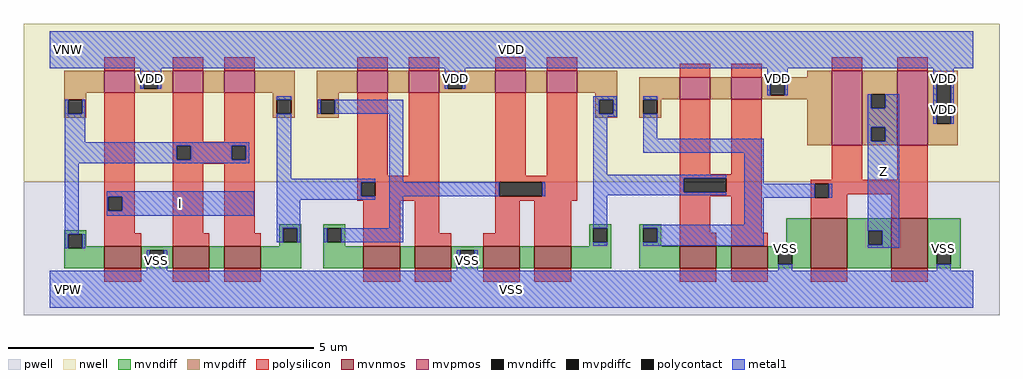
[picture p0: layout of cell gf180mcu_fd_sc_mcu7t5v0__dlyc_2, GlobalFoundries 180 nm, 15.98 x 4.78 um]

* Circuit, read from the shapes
.subckt gf180mcu_fd_sc_mcu7t5v0__dlyc_2 I Z VDD VNW VPW VSS
XM1 VSS I n1 VPW nfet_06v0 w=0.36u l=0.6u
XM2 n2 n1 VSS VPW nfet_06v0 w=0.36u l=0.6u
XM3 n3 n1 n2 VPW nfet_06v0 w=0.36u l=0.6u
XM4 n4 n3 n5 VPW nfet_06v0 w=0.36u l=0.6u
XM5 VSS n3 n4 VPW nfet_06v0 w=0.36u l=0.6u
XM6 n6 n5 VSS VPW nfet_06v0 w=0.36u l=0.6u
XM7 n7 n5 n6 VPW nfet_06v0 w=0.36u l=0.6u
XM8 n8 n7 n9 VPW nfet_06v0 w=0.365u l=0.6u
XM9 VSS n7 n8 VPW nfet_06v0 w=0.365u l=0.6u
XM10 Z n9 VSS VPW nfet_06v0 w=0.82u l=0.6u m=2
XM11 VDD I n1 VNW pfet_06v0 w=0.36u l=0.5u
XM12 n10 n1 VDD VNW pfet_06v0 w=0.36u l=0.5u
XM13 n3 n1 n10 VNW pfet_06v0 w=0.36u l=0.5u
XM14 n11 n3 n5 VNW pfet_06v0 w=0.36u l=0.5u
XM15 VDD n3 n11 VNW pfet_06v0 w=0.36u l=0.5u
XM16 n12 n5 VDD VNW pfet_06v0 w=0.36u l=0.5u
XM17 n7 n5 n12 VNW pfet_06v0 w=0.36u l=0.5u
XM18 n13 n7 n9 VNW pfet_06v0 w=0.36u l=0.5u
XM19 VDD n7 n13 VNW pfet_06v0 w=0.36u l=0.5u
XM20 Z n9 VDD VNW pfet_06v0 w=1.22u l=0.5u m=2
.ends

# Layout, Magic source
magic
tech gf180mcuD
magscale 1 10
<< nwell >>
rect -86 352 3110 870
<< pwell >>
rect -86 -86 3110 352
<< mvnmos >>
rect 179 68 299 140
rect 403 68 523 140
rect 571 68 691 140
rect 1027 68 1147 140
rect 1195 68 1315 140
rect 1419 68 1539 140
rect 1587 68 1707 140
rect 2063 68 2183 141
rect 2231 68 2351 141
rect 2492 68 2612 232
rect 2755 68 2875 232
<< mvpmos >>
rect 179 644 279 716
rect 403 644 503 716
rect 571 644 671 716
rect 1007 644 1107 716
rect 1175 644 1275 716
rect 1459 644 1559 716
rect 1627 644 1727 716
rect 2063 622 2163 694
rect 2231 622 2331 694
rect 2561 472 2661 716
rect 2775 472 2875 716
<< mvndiff >>
rect 47 180 119 193
rect 47 134 60 180
rect 106 140 119 180
rect 751 200 823 213
rect 751 154 764 200
rect 810 154 823 200
rect 751 140 823 154
rect 106 134 179 140
rect 47 68 179 134
rect 299 127 403 140
rect 299 81 328 127
rect 374 81 403 127
rect 299 68 403 81
rect 523 68 571 140
rect 691 68 823 140
rect 895 200 967 213
rect 895 154 908 200
rect 954 154 967 200
rect 895 140 967 154
rect 1767 200 1839 213
rect 1767 154 1780 200
rect 1826 154 1839 200
rect 1767 140 1839 154
rect 895 68 1027 140
rect 1147 68 1195 140
rect 1315 127 1419 140
rect 1315 81 1344 127
rect 1390 81 1419 127
rect 1315 68 1419 81
rect 1539 68 1587 140
rect 1707 68 1839 140
rect 1931 200 2003 213
rect 1931 154 1944 200
rect 1990 154 2003 200
rect 1931 141 2003 154
rect 2412 141 2492 232
rect 1931 68 2063 141
rect 2183 68 2231 141
rect 2351 127 2492 141
rect 2351 81 2385 127
rect 2431 81 2492 127
rect 2351 68 2492 81
rect 2612 192 2755 232
rect 2612 146 2680 192
rect 2726 146 2755 192
rect 2612 68 2755 146
rect 2875 127 2983 232
rect 2875 81 2904 127
rect 2950 81 2983 127
rect 2875 68 2983 81
<< mvpdiff >>
rect 47 644 179 716
rect 279 703 403 716
rect 279 657 308 703
rect 354 657 403 703
rect 279 644 403 657
rect 503 644 571 716
rect 671 644 803 716
rect 47 621 119 644
rect 47 575 60 621
rect 106 575 119 621
rect 47 562 119 575
rect 731 621 803 644
rect 731 575 744 621
rect 790 575 803 621
rect 731 562 803 575
rect 875 644 1007 716
rect 1107 644 1175 716
rect 1275 703 1459 716
rect 1275 657 1304 703
rect 1350 657 1459 703
rect 1275 644 1459 657
rect 1559 644 1627 716
rect 1727 644 1859 716
rect 2481 694 2561 716
rect 875 621 947 644
rect 875 575 888 621
rect 934 575 947 621
rect 875 562 947 575
rect 1787 621 1859 644
rect 1787 575 1800 621
rect 1846 575 1859 621
rect 1787 562 1859 575
rect 1931 622 2063 694
rect 2163 622 2231 694
rect 2331 681 2561 694
rect 2331 635 2360 681
rect 2406 635 2561 681
rect 2331 622 2561 635
rect 1931 621 2003 622
rect 1931 575 1944 621
rect 1990 575 2003 621
rect 1931 562 2003 575
rect 2481 472 2561 622
rect 2661 639 2775 716
rect 2661 593 2690 639
rect 2736 593 2775 639
rect 2661 531 2775 593
rect 2661 485 2690 531
rect 2736 485 2775 531
rect 2661 472 2775 485
rect 2875 681 2973 716
rect 2875 541 2904 681
rect 2950 541 2973 681
rect 2875 472 2973 541
<< mvndiffc >>
rect 60 134 106 180
rect 764 154 810 200
rect 328 81 374 127
rect 908 154 954 200
rect 1780 154 1826 200
rect 1344 81 1390 127
rect 1944 154 1990 200
rect 2385 81 2431 127
rect 2680 146 2726 192
rect 2904 81 2950 127
<< mvpdiffc >>
rect 308 657 354 703
rect 60 575 106 621
rect 744 575 790 621
rect 1304 657 1350 703
rect 888 575 934 621
rect 1800 575 1846 621
rect 2360 635 2406 681
rect 1944 575 1990 621
rect 2690 593 2736 639
rect 2690 485 2736 531
rect 2904 541 2950 681
<< polysilicon >>
rect 179 716 279 760
rect 403 716 503 760
rect 571 716 671 760
rect 1007 716 1107 760
rect 1175 716 1275 760
rect 1459 716 1559 760
rect 1627 716 1727 760
rect 179 303 279 644
rect 179 257 192 303
rect 238 257 279 303
rect 179 184 279 257
rect 403 483 503 644
rect 571 483 671 644
rect 2063 694 2163 738
rect 2231 694 2331 738
rect 2561 716 2661 760
rect 2775 716 2875 760
rect 403 470 671 483
rect 403 424 416 470
rect 462 424 596 470
rect 642 424 671 470
rect 403 411 671 424
rect 403 184 503 411
rect 571 184 671 411
rect 1007 371 1107 644
rect 1175 371 1275 644
rect 1007 350 1275 371
rect 1007 304 1020 350
rect 1066 304 1275 350
rect 1007 290 1275 304
rect 179 140 299 184
rect 403 140 523 184
rect 571 140 691 184
rect 1027 140 1147 290
rect 1195 184 1275 290
rect 1459 371 1559 644
rect 1627 371 1727 644
rect 1459 350 1727 371
rect 1459 304 1472 350
rect 1612 304 1727 350
rect 1459 290 1727 304
rect 2063 377 2163 622
rect 2231 377 2331 622
rect 2063 364 2331 377
rect 2063 318 2076 364
rect 2216 318 2331 364
rect 2561 359 2661 472
rect 2775 359 2875 472
rect 2063 305 2331 318
rect 1459 184 1539 290
rect 1195 140 1315 184
rect 1419 140 1539 184
rect 1587 140 1707 290
rect 2063 185 2163 305
rect 2231 185 2331 305
rect 2492 346 2875 359
rect 2492 300 2505 346
rect 2551 311 2875 346
rect 2551 300 2612 311
rect 2492 232 2612 300
rect 2755 232 2875 311
rect 2063 141 2183 185
rect 2231 141 2351 185
rect 179 24 299 68
rect 403 24 523 68
rect 571 24 691 68
rect 1027 24 1147 68
rect 1195 24 1315 68
rect 1419 24 1539 68
rect 1587 24 1707 68
rect 2063 24 2183 68
rect 2231 24 2351 68
rect 2492 24 2612 68
rect 2755 24 2875 68
<< polycontact >>
rect 192 257 238 303
rect 416 424 462 470
rect 596 424 642 470
rect 1020 304 1066 350
rect 1472 304 1612 350
rect 2076 318 2216 364
rect 2505 300 2551 346
<< metal1 >>
rect 0 724 3024 844
rect 297 703 365 724
rect 297 657 308 703
rect 354 657 365 703
rect 1293 703 1361 724
rect 1293 657 1304 703
rect 1350 657 1361 703
rect 2349 681 2417 724
rect 2349 635 2360 681
rect 2406 635 2417 681
rect 2893 681 2961 724
rect 744 621 790 632
rect 1780 621 1857 632
rect 49 575 60 621
rect 106 575 117 621
rect 49 481 117 575
rect 877 575 888 621
rect 934 575 1158 621
rect 49 470 653 481
rect 49 424 416 470
rect 462 424 596 470
rect 642 424 653 470
rect 49 413 653 424
rect 49 180 95 413
rect 744 361 790 575
rect 744 350 1066 361
rect 186 303 670 320
rect 186 257 192 303
rect 238 257 670 303
rect 186 240 670 257
rect 744 304 1020 350
rect 744 293 1066 304
rect 1112 350 1158 575
rect 1780 575 1800 621
rect 1846 575 1857 621
rect 1780 564 1857 575
rect 1944 621 1990 632
rect 1780 375 1826 564
rect 1944 493 1990 575
rect 2679 593 2690 639
rect 2736 593 2782 639
rect 2679 531 2782 593
rect 2893 541 2904 681
rect 2950 541 2961 681
rect 1944 447 2338 493
rect 1780 364 2216 375
rect 1112 304 1472 350
rect 1612 304 1623 350
rect 1780 318 2076 364
rect 1780 307 2216 318
rect 2274 346 2338 447
rect 2679 485 2690 531
rect 2736 485 2782 531
rect 744 200 821 293
rect 1112 200 1158 304
rect 49 134 60 180
rect 106 134 117 180
rect 744 154 764 200
rect 810 154 821 200
rect 897 154 908 200
rect 954 154 1158 200
rect 1780 200 1826 307
rect 2274 300 2505 346
rect 2551 300 2562 346
rect 2274 211 2338 300
rect 1780 143 1826 154
rect 1944 200 2338 211
rect 1990 154 2338 200
rect 1944 143 2338 154
rect 2679 192 2782 485
rect 2679 146 2680 192
rect 2726 146 2782 192
rect 2385 127 2431 138
rect 2679 135 2782 146
rect 317 81 328 127
rect 374 81 385 127
rect 317 60 385 81
rect 1333 81 1344 127
rect 1390 81 1401 127
rect 1333 60 1401 81
rect 2385 60 2431 81
rect 2904 127 2950 138
rect 2904 60 2950 81
rect 0 -60 3024 60
<< labels >>
flabel metal1 s 0 724 3024 844 0 FreeSans 400 0 0 0 VDD
port 3 nsew power bidirectional abutment
flabel metal1 s 186 240 670 320 0 FreeSans 400 0 0 0 I
port 1 nsew default input
flabel metal1 s 2904 127 2950 138 0 FreeSans 400 0 0 0 VSS
port 6 nsew ground bidirectional abutment
flabel metal1 s 2679 135 2782 639 0 FreeSans 400 0 0 0 Z
port 2 nsew default output
flabel nwell s 10 734 110 834 0 FreeSans 400 0 0 0 VNW
port 4 nsew power bidirectional
flabel pwell s 10 -50 110 50 0 FreeSans 400 0 0 0 VPW
port 5 nsew ground bidirectional
rlabel metal1 s 2893 657 2961 724 1 VDD
port 3 nsew power bidirectional abutment
rlabel metal1 s 2349 657 2417 724 1 VDD
port 3 nsew power bidirectional abutment
rlabel metal1 s 1293 657 1361 724 1 VDD
port 3 nsew power bidirectional abutment
rlabel metal1 s 297 657 365 724 1 VDD
port 3 nsew power bidirectional abutment
rlabel metal1 s 2893 635 2961 657 1 VDD
port 3 nsew power bidirectional abutment
rlabel metal1 s 2349 635 2417 657 1 VDD
port 3 nsew power bidirectional abutment
rlabel metal1 s 2893 541 2961 635 1 VDD
port 3 nsew power bidirectional abutment
rlabel metal1 s 2385 127 2431 138 1 VSS
port 6 nsew ground bidirectional abutment
rlabel metal1 s 2904 60 2950 127 1 VSS
port 6 nsew ground bidirectional abutment
rlabel metal1 s 2385 60 2431 127 1 VSS
port 6 nsew ground bidirectional abutment
rlabel metal1 s 1333 60 1401 127 1 VSS
port 6 nsew ground bidirectional abutment
rlabel metal1 s 317 60 385 127 1 VSS
port 6 nsew ground bidirectional abutment
rlabel metal1 s 0 -60 3024 60 1 VSS
port 6 nsew ground bidirectional abutment
<< properties >>
string FIXED_BBOX 0 0 3024 784
string GDS_END 1115308
string GDS_FILE $PDKPATH/libs.ref/gf180mcu_fd_sc_mcu7t5v0/gds/gf180mcu_fd_sc_mcu7t5v0.gds
string GDS_START 1109608
string LEFclass core
string LEFsite GF018hv5v_mcu_sc7
string LEFsymmetry X Y
<< end >>
